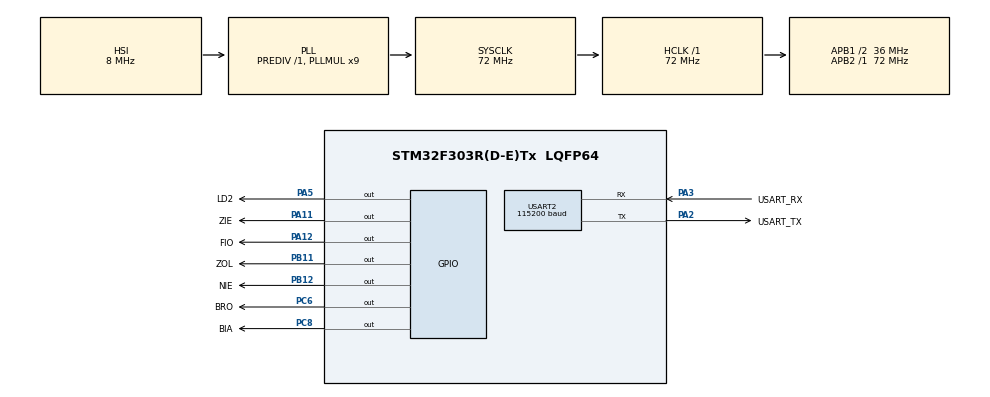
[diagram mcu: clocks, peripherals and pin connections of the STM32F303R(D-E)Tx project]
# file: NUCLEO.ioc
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Mcu.Family=STM32F3
Mcu.Name=STM32F303R(D-E)Tx
Mcu.Package=LQFP64
NVIC.PriorityGroup=NVIC_PRIORITYGROUP_0
NVIC.RTC_WKUP_IRQn=true\:0\:0\:false\:false\:true\:true\:true
NVIC.USART2_IRQn=true\:0\:0\:false\:false\:true\:true\:true
PA11.GPIO_Label=ZIE
PA11.Signal=GPIO_Output
PA12.GPIO_Label=FIO
PA12.Signal=GPIO_Output
PA13.GPIO_Label=TMS
PA13.Mode=Serial_Wire
PA13.Signal=SYS_JTMS-SWDIO
PA14.GPIO_Label=TCK
PA14.Mode=Serial_Wire
PA14.Signal=SYS_JTCK-SWCLK
PA2.GPIO_Label=USART_TX
PA2.GPIO_Mode=GPIO_MODE_AF_PP
PA2.GPIO_PuPd=GPIO_NOPULL
PA2.GPIO_Speed=GPIO_SPEED_FREQ_LOW
PA2.Mode=Asynchronous
PA2.Signal=USART2_TX
PA3.GPIO_Label=USART_RX
PA3.GPIO_Mode=GPIO_MODE_AF_PP
PA3.GPIO_PuPd=GPIO_NOPULL
PA3.GPIO_Speed=GPIO_SPEED_FREQ_LOW
PA3.Mode=Asynchronous
PA3.Signal=USART2_RX
PA5.GPIO_Label=LD2
PA5.GPIO_Mode=GPIO_MODE_OUTPUT_PP
PA5.GPIO_PuPd=GPIO_NOPULL
PA5.GPIO_Speed=GPIO_SPEED_FREQ_LOW
PA5.Signal=GPIO_Output
PB11.GPIO_Label=ZOL
PB11.Signal=GPIO_Output
PB12.GPIO_Label=NIE
PB12.Signal=GPIO_Output
PB3.GPIO_Label=SWO
PB3.Signal=SYS_JTDO-TRACESWO
PC14-OSC32_IN.Mode=LSE-External-Oscillator
PC14-OSC32_IN.Signal=RCC_OSC32_IN
PC15-OSC32_OUT.Mode=LSE-External-Oscillator
PC15-OSC32_OUT.Signal=RCC_OSC32_OUT
PC6.GPIO_Label=BRO
PC6.Signal=GPIO_Output
PC8.GPIO_Label=BIA
PC8.Signal=GPIO_Output
PF0-OSC_IN.Mode=HSE-External-Clock-Source
PF0-OSC_IN.Signal=RCC_OSC_IN
PF1-OSC_OUT.Signal=RCC_OSC_OUT
ProjectManager.HeapSize=0x200
ProjectManager.StackSize=0x400
ProjectManager.TargetToolchain=STM32CubeIDE
RCC.AHBFreq_Value=72000000
RCC.APB1CLKDivider=RCC_HCLK_DIV2
RCC.APB1Freq_Value=36000000
RCC.APB1TimFreq_Value=72000000
RCC.APB2Freq_Value=72000000
RCC.APB2TimFreq_Value=72000000
RCC.CortexFreq_Value=72000000
RCC.HCLKFreq_Value=72000000
RCC.HSE_VALUE=8000000
RCC.HSI_VALUE=8000000
RCC.PLLM=8
RCC.PLLMUL=RCC_PLL_MUL9
RCC.PLLN=336
RCC.PLLP=RCC_PLLP_DIV4
RCC.PLLQ=7
RCC.RCC_PLLsource_Clock_Source_FROM_HSE=RCC_HSE_PREDIV_DIV2
RCC.SYSCLKFreq_VALUE=72000000
RCC.SYSCLKSourceVirtual=RCC_SYSCLKSOURCE_PLLCLK
RCC.USBFreq_Value=72000000
RTC.Date=21
RTC.Format=RTC_FORMAT_BIN
RTC.Hours=18
RTC.Minutes=20
RTC.Month=RTC_MONTH_OCTOBER
RTC.Seconds=10
RTC.WeekDay=RTC_WEEKDAY_THURSDAY
USART2.BaudRate=115200
USART2.VirtualMode-Asynchronous=VM_ASYNC
VP_RTC_VS_RTC_Activate.Mode=RTC_Enabled
VP_RTC_VS_RTC_Calendar.Mode=RTC_Calendar
VP_RTC_VS_RTC_WakeUp_intern.Mode=WakeUp
board=NUCLEO-F303RE

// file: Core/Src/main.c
/* USER CODE BEGIN Header */
/**
  ******************************************************************************
  * @file           : main.c
  * @brief          : Main program body
  ******************************************************************************
  * @attention
  *
  * <h2><center>&copy; Copyright (c) 2021 STMicroelectronics.
  * All rights reserved.</center></h2>
  *
  * This software component is licensed by ST under BSD 3-Clause license,
  * the "License"; You may not use this file except in compliance with the
  * License. You may obtain a copy of the License at:
  *                        opensource.org/licenses/BSD-3-Clause
  *
  ******************************************************************************
  */
/* USER CODE END Header */
#include "main.h"
#include "rtc.h"
#include "usart.h"
#include "gpio.h"

/* USER CODE BEGIN Includes */
#include <stdlib.h>
#include <stdio.h>
#include <ctype.h>
#include <unistd.h>
#include <string.h>
/* USER CODE END Includes */

/* USER CODE BEGIN PTD */

RTC_HandleTypeDef hrtc;

/* USER CODE END PTD */

/* USER CODE BEGIN PD */
#define RX_BUFF_SIZE 128

/* USER CODE END PD */

/* USER CODE BEGIN PV */
	uint8_t znak, kom[20];
	uint16_t dl_kom;

	/* ===== RX RING BUFFER ===== */

	volatile uint8_t Rx_buff[RX_BUFF_SIZE];
	volatile uint8_t Rx_empty = 0;
	volatile uint8_t Rx_busy = 0;

	/* ===== RX RING BUFFER END ===== */

	uint8_t Rx_byte;
	uint8_t Rx_data[RX_BUFF_SIZE];
	uint8_t Rx_idx = 0;
	char command[16];
	uint8_t last_index = 0;

	uint8_t Tx_byte;
	uint8_t Tx_data[128];
	uint16_t Tx_data_size;

	//project
	uint16_t *hr;

/* USER CODE END PV */

void SystemClock_Config(void);
/* USER CODE BEGIN PFP */

int splitNumber(int num){
	      int arr[2];

	      while(num != 0){
	          for(int i = 0; i < 2; i++){
	              arr[i] = num % 10;
	          }
	          num = num / 10;
	      }
	      return arr[1];

}

void HAL_RTCEx_WakeUpTimerEventCallback(RTC_HandleTypeDef *hrtc){
	static RTC_TimeTypeDef sTime;
	static char mess[30];
	 size_t size;

	HAL_RTC_GetTime(hrtc, &sTime, RTC_FORMAT_BIN);

	size = sprintf(mess, "%2.2u:%2.2u:%2.2u\n", sTime.Hours, sTime.Minutes, sTime.Seconds);
	//HAL_UART_Transmit_IT(&huart2, (uint8_t*)mess, size);

	 uint8_t hours = sTime.Hours;
	 uint8_t seconds = sTime.Seconds;

	 int hour = splitNumber(seconds);
	 hr = &hour;

	 //size = sprintf(mess, "Split number: %d\n", *hr);
	 //HAL_UART_Transmit_IT(&huart2, (uint8_t*)mess, size);

}

/* USER CODE END PFP */

/* USER CODE BEGIN 0 */

uint16_t time_passed = 0;
uint8_t delay_done = 0;
uint8_t led_blink_mode = 0;

void checkDelay(){
	time_passed++;
	if(time_passed > 500){
		time_passed = 0;
		delay_done = 1;

	}
}

void find_command(){
	char *led_on;
	char *led_off;
	char *led_blink;

		//strcpy(command, Rx_data);

		if(Rx_busy != Rx_empty){

			Rx_byte = Rx_buff[Rx_busy]; //get single char from array

			Rx_busy++;

			if(Rx_busy >= RX_BUFF_SIZE){
				Rx_busy = 0;
			}

			if(Rx_byte == 0x3B /* ; */){

							led_on = strstr(Rx_buff, "LED[ON]");
							led_off = strstr(Rx_buff, "LED[OFF]");
							led_blink = strstr(Rx_buff, "LED[BLINK");

						if(led_on != NULL){

								HAL_GPIO_WritePin(LD2_GPIO_Port, LD2_Pin, GPIO_PIN_SET);
								resetBuffers();

							}

						  if(led_off != NULL){
							HAL_GPIO_WritePin(LD2_GPIO_Port, LD2_Pin, GPIO_PIN_RESET);
							resetBuffers();

							}
						  if(led_blink != NULL){
							  led_blink_mode = !led_blink_mode;

							  resetBuffers();
						  }

							if(led_off == NULL && led_on == NULL && led_blink == NULL){
								uint8_t siz = sprintf(Tx_data, "Niepoprawna komenda\r\n");
							    HAL_UART_Transmit_IT(&huart2, Tx_data, siz);

							    //memset(command, 0, sizeof command);
							    //resetBuffers();
							}

						}

		}

}

void resetBuffers(){

	//memset(Rx_buff, 0, RX_BUFF_SIZE);
	Rx_busy = 0;
	Rx_empty = 0;
	Rx_byte = 0;

}

void HAL_UART_RxCpltCallback(UART_HandleTypeDef *huart ){

	if(huart->Instance == USART2)
	{

		//uint8_t data[RX_BUFF_SIZE];
		//uint16_t Rx_data_size = 0;
	      // HAL_RTC_GetDate(&hrtc, &sDate, RTC_FORMAT_BIN);
			//sprintf(kom, "Date: %d:%d:%d", sTime.Hours, sTime.Minutes, sTime.Seconds);

			//HAL_RTCEx_WakeUpTimerEventCallback(&hrtc);

			//HAL_GPIO_WritePin(LD2_GPIO_Port, LD2_Pin, GPIO_PIN_SET);

		//Rx_data[Rx_idx++] = Rx_byte;
		//Rx_data_size = sprintf(data, Rx_data);
		Rx_empty++;

		if(Rx_empty >= RX_BUFF_SIZE){
			Rx_empty = 0;
		}

		/*
		if(Rx_idx == 0){
		   memset(&Rx_data, 0, sizeof(Rx_data));
		 } */

		//HAL_UART_Transmit_IT(&huart2, kom, dl_kom);
		HAL_UART_Receive_IT(&huart2, &Rx_buff[Rx_empty], 1);

	}
}
void HAL_UART_TxCpltCallback(UART_HandleTypeDef *huart){

}

/* USER CODE END 0 */

int main(void)
{

  /* MCU Configuration--------------------------------------------------------*/

  /* Reset of all peripherals, Initializes the Flash interface and the Systick. */
  HAL_Init();

  /* Configure the system clock */
  SystemClock_Config();

  /* Initialize all configured peripherals */
  MX_GPIO_Init();
  MX_USART2_UART_Init();
  MX_RTC_Init();
  /* USER CODE BEGIN 2 */

  HAL_UART_Transmit_IT(&huart2, "Hello, i am stm32!!!", 20);

  //rx_buff

  HAL_UART_Receive_IT(&huart2, &Rx_buff[Rx_empty], 1);

  static GPIO_TypeDef* leds0[2] = {{BIA_GPIO_Port}, {BRO_GPIO_Port}};
  static uint16_t leds0_pins[2] = {{BIA_Pin}, {BRO_Pin}};

  RTC_TimeTypeDef sTime;

  char mess[50];
  uint8_t size;

  HAL_RTCEx_DeactivateWakeUpTimer(&hrtc);

  sTime.Hours = 20;
  sTime.Minutes = 25;
  sTime.Seconds = 15;

  HAL_RTC_SetTime(&hrtc, &sTime, RTC_FORMAT_BIN);

  HAL_RTCEx_SetWakeUpTimer_IT(&hrtc, 2047, RTC_WAKEUPCLOCK_RTCCLK_DIV16);

  /* USER CODE END 2 */

  /* Infinite loop */
  /* USER CODE BEGIN WHILE */
  while (1)
  {
	  //HAL_RTC_GetTime(&hrtc, &sTime, RTC_FORMAT_BIN);

	  if(*hr == 2 || 6){
		  HAL_GPIO_TogglePin(leds0[0], BIA_Pin);
		  //

	  }
	  //TURN On led blinkin mode
	  if(led_blink_mode == 1){
		  if(delay_done == 1){
			  HAL_GPIO_TogglePin(LD2_GPIO_Port, LD2_Pin);
			  delay_done = 0;
		  }

	  }

	  find_command();

    /* USER CODE END WHILE */

  }
}

void SystemClock_Config(void)
{
  RCC_OscInitTypeDef RCC_OscInitStruct = {0};
  RCC_ClkInitTypeDef RCC_ClkInitStruct = {0};
  RCC_PeriphCLKInitTypeDef PeriphClkInit = {0};

  /** Initializes the RCC Oscillators according to the specified parameters
  * in the RCC_OscInitTypeDef structure.
  */
  RCC_OscInitStruct.OscillatorType = RCC_OSCILLATORTYPE_HSI|RCC_OSCILLATORTYPE_LSI;
  RCC_OscInitStruct.HSIState = RCC_HSI_ON;
  RCC_OscInitStruct.HSICalibrationValue = RCC_HSICALIBRATION_DEFAULT;
  RCC_OscInitStruct.LSIState = RCC_LSI_ON;
  RCC_OscInitStruct.PLL.PLLState = RCC_PLL_ON;
  RCC_OscInitStruct.PLL.PLLSource = RCC_PLLSOURCE_HSI;
  RCC_OscInitStruct.PLL.PLLMUL = RCC_PLL_MUL9;
  RCC_OscInitStruct.PLL.PREDIV = RCC_PREDIV_DIV1;
  if (HAL_RCC_OscConfig(&RCC_OscInitStruct) != HAL_OK)
  {
    Error_Handler();
  }
  /** Initializes the CPU, AHB and APB buses clocks
  */
  RCC_ClkInitStruct.ClockType = RCC_CLOCKTYPE_HCLK|RCC_CLOCKTYPE_SYSCLK
                              |RCC_CLOCKTYPE_PCLK1|RCC_CLOCKTYPE_PCLK2;
  RCC_ClkInitStruct.SYSCLKSource = RCC_SYSCLKSOURCE_PLLCLK;
  RCC_ClkInitStruct.AHBCLKDivider = RCC_SYSCLK_DIV1;
  RCC_ClkInitStruct.APB1CLKDivider = RCC_HCLK_DIV2;
  RCC_ClkInitStruct.APB2CLKDivider = RCC_HCLK_DIV1;

  if (HAL_RCC_ClockConfig(&RCC_ClkInitStruct, FLASH_LATENCY_2) != HAL_OK)
  {
    Error_Handler();
  }
  PeriphClkInit.PeriphClockSelection = RCC_PERIPHCLK_USART2|RCC_PERIPHCLK_RTC;
  PeriphClkInit.Usart2ClockSelection = RCC_USART2CLKSOURCE_PCLK1;
  PeriphClkInit.RTCClockSelection = RCC_RTCCLKSOURCE_LSI;
  if (HAL_RCCEx_PeriphCLKConfig(&PeriphClkInit) != HAL_OK)
  {
    Error_Handler();
  }
}

void Error_Handler(void)
{
  __disable_irq();
  while (1)
  {
  }
}

/************************ (C) COPYRIGHT STMicroelectronics *****END OF FILE****/
